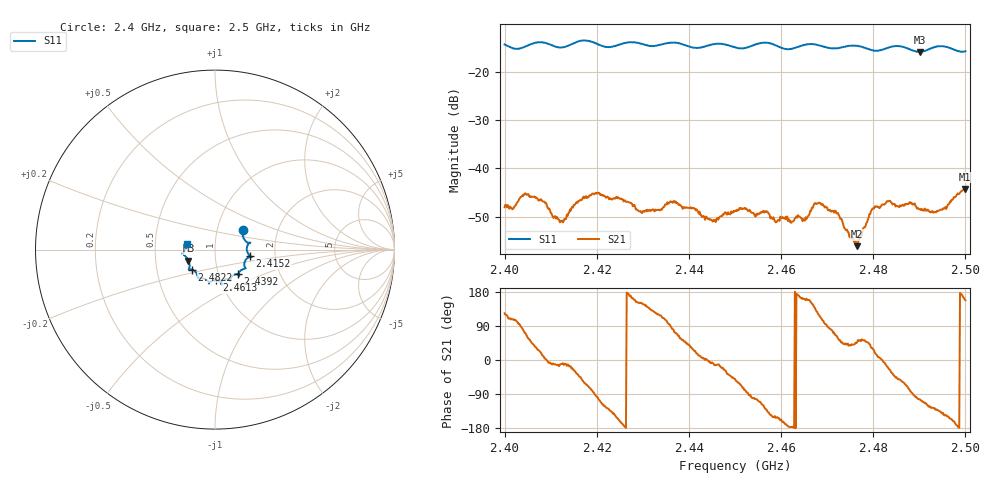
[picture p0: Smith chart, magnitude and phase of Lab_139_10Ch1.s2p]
# Hz S RI R 50
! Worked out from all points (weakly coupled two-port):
!   601 points, 2.4 GHz to 2.5 GHz, reference 50 ohm
!   highest |S21| = -44.31 dB at 2.4998 GHz (marker M1); lowest = -56.1 dB at 2.4765 GHz (marker M2)
!   lowest |S11| = -15.9 dB at 2.4902 GHz (marker M3), VSWR 1.38, Z = 36.9 - j4.65 ohm
!   |S11| at or under -10 dB: start of sweep to end of sweep
!   S12 and S22 are empty: the file has one direction only
!   S11 on the Smith chart (normalised r, x): 2.4 GHz: 1.33, +0.30; 2.4152 GHz: 1.48, -0.11; 2.4392 GHz: 1.23, -0.35; 2.4613 GHz: 0.96, -0.34; 2.4822 GHz: 0.76, -0.17; 2.5 GHz: 0.72, +0.05
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2.4e9  0.1556 0.1101  -0.00217 0.0033  0 0  0 0
2.404667e9  0.1783 0.041  0.00212 0.00492  0 0  0 0
2.412333e9  0.1771 0.00119  0.00277 -0.000502  0 0  0 0
2.415167e9  0.1951 -0.0361  0.0037 -0.00197  0 0  0 0
2.416667e9  0.2047 -0.042  0.00305 -0.00352  0 0  0 0
2.420167e9  0.1878 -0.0426  -0.000769 -0.00547  0 0  0 0
2.433333e9  0.1322 -0.1322  -0.00188 0.00318  0 0  0 0
2.439167e9  0.1269 -0.1379  0.00256 0.00291  0 0  0 0
2.445333e9  0.085 -0.1722  0.00287 -0.000497  0 0  0 0
2.45e9  0.0686 -0.1641  0.00235 -0.00278  0 0  0 0
2.461333e9  0.00683 -0.1702  -0.00315 -0.000378  0 0  0 0
2.465167e9  -0.0331 -0.1866  -0.00269 0.000989  0 0  0 0
2.466667e9  -0.0337 -0.1896  -0.00333 0.00203  0 0  0 0
2.472167e9  -0.0675 -0.1605  0.00161 0.003  0 0  0 0
2.4765e9  -0.0943 -0.1587  0.00107 0.00113  0 0  0 0
2.479833e9  -0.105 -0.1283  0.00327 0.00197  0 0  0 0
2.482167e9  -0.1276 -0.1116  0.00422 -0.000364  0 0  0 0
2.483333e9  -0.1388 -0.1102  0.00419 -0.00177  0 0  0 0
2.490167e9  -0.1477 -0.0615  -0.000939 -0.00365  0 0  0 0
2.4955e9  -0.1806 -0.0203  -0.00318 -0.00212  0 0  0 0
2.499833e9  -0.1585 0.0304  -0.00573 0.00204  0 0  0 0
2.5e9  -0.1587 0.0333  -0.00559 0.0023  0 0  0 0
